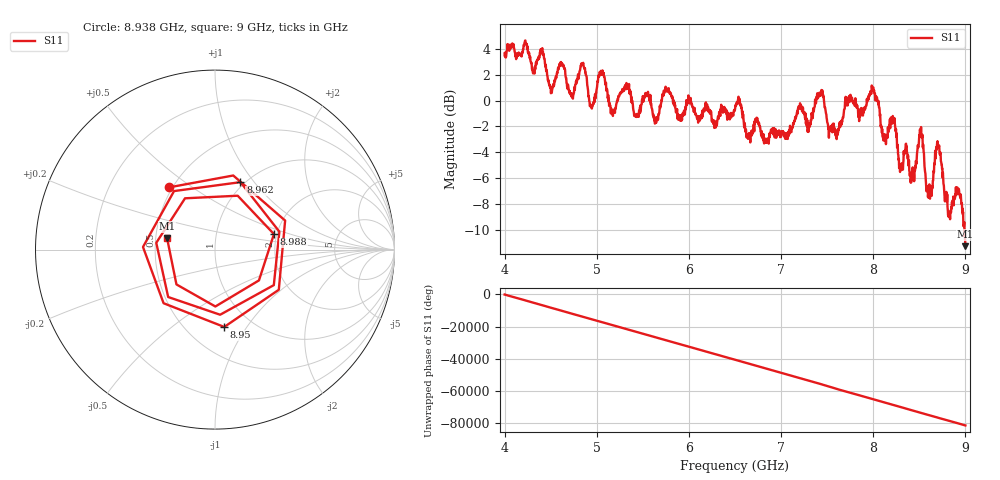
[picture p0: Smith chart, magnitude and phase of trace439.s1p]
! Created with skrf 1.8.0 (http://scikit-rf.org).
# Hz S RI R 50.0
!freq ReS11 ImS11
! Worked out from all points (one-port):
!   1601 points, 4 GHz to 9 GHz, reference 50 ohm
!   lowest |S11| = -11.2 dB at 9 GHz (marker M1), VSWR 1.76, Z = 28.7 + j3.9 ohm
!   |S11| at or under -10 dB: 8.989682 GHz to 8.993874 GHz (4.192 MHz wide, 0.0466 % of centre); 8.994081 GHz to end of sweep
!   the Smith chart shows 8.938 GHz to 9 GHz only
!   S11 on the Smith chart (normalised r, x): 8.938 GHz: 0.48, +0.41; 8.95 GHz: 0.75, -0.79; 8.962 GHz: 0.96, +0.86; 8.988 GHz: 1.93, +0.38; 9 GHz: 0.57, +0.08
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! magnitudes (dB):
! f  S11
! 4 GHz  3.6
! 4.406 GHz  3.9
! 4.509 GHz  0.8
! 4.625 GHz  2.9
! 4.728 GHz  0.5
! 4.853 GHz  2.9
! 4.944 GHz  -0.6
! 5.05 GHz  2.1
! 5.172 GHz  -0.9
! 5.25 GHz  0.5
! 5.875 GHz  -1.2
! 6.5 GHz  -0.7
! 7.125 GHz  -2.1
! 7.434 GHz  0.7
! 7.6 GHz  -2.3
! 7.75 GHz  0.1
! 7.994 GHz  0.9
! 8.375 GHz  -4.5
! 8.428 GHz  -5.2
! 8.519 GHz  -2.0
! 8.609 GHz  -6.5
! 8.706 GHz  -3.5
! 8.822 GHz  -8.7
! 8.938 GHz  -7.3
! 8.95 GHz  -7.3
! 8.962 GHz  -7.9
! 8.988 GHz  -9.4
! 9 GHz  -11.2
